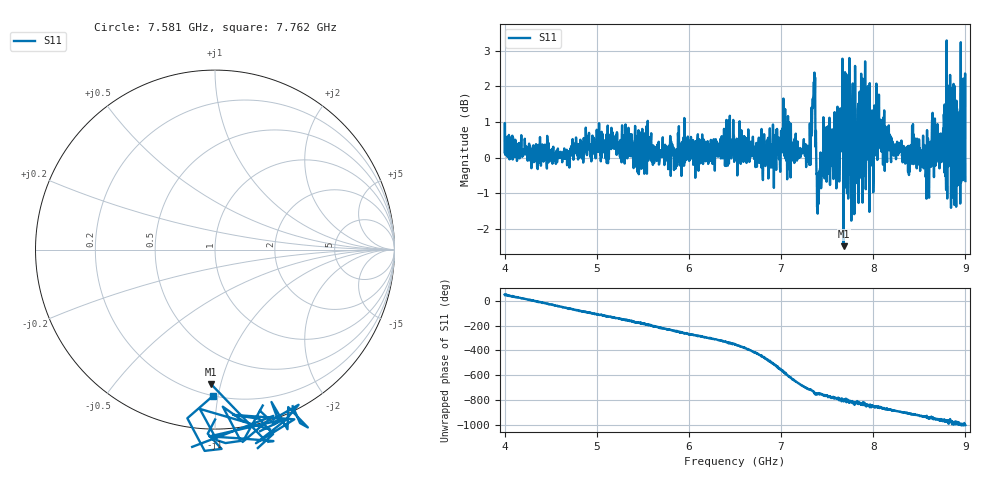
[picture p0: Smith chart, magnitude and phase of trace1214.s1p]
! Created with skrf 1.8.0 (http://scikit-rf.org).
# Hz S RI R 50.0
!freq ReS11 ImS11
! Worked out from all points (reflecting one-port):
!   1601 points, 4 GHz to 9 GHz, reference 50 ohm
!   lowest |S11| = -2.5 dB at 7.678 GHz (marker M1), VSWR 7.05, Z = 13.6 - j46.8 ohm
!   phase of S11 starts at 51 deg and turns -1056 deg over the sweep
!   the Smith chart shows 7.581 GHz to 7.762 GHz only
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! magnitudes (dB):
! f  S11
! 4 GHz  0.2
! 4.625 GHz  -0.1
! 5.25 GHz  0.1
! 5.875 GHz  0.0
! 6.5 GHz  0.2
! 6.816 GHz  0.7
! 7.028 GHz  0.5
! 7.125 GHz  0.3
! 7.294 GHz  -0.1
! 7.347 GHz  1.4
! 7.412 GHz  -0.6
! 7.484 GHz  0.5
! 7.609 GHz  -0.6
! 7.678 GHz  -2.5
! 7.75 GHz  0.2
! 7.775 GHz  1.6
! 7.928 GHz  1.2
! 7.981 GHz  -0.2
! 8.05 GHz  1.4
! 8.375 GHz  0.0
! 8.441 GHz  -0.2
! 8.594 GHz  0.5
! 8.656 GHz  0.5
! 8.766 GHz  1.2
! 8.816 GHz  -0.2
! 8.869 GHz  -1.1
! 8.972 GHz  1.1
! 9 GHz  -0.7
